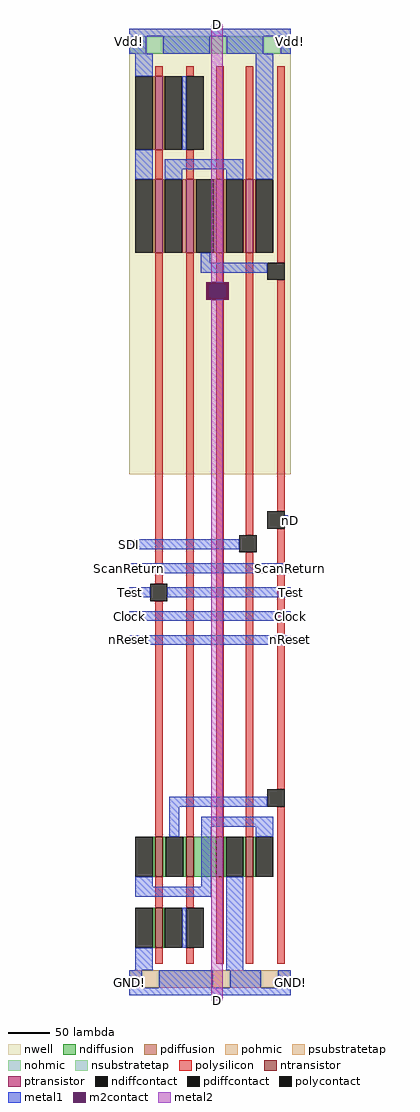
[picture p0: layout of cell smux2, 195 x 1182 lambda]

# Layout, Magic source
magic
tech tsmc180
<< nwell >>
rect 0 637 195 1176
<< polysilicon >>
rect 31 1119 40 1131
rect 69 1119 78 1131
rect 31 994 40 1030
rect 69 994 78 1030
rect 105 994 114 1131
rect 141 994 150 1131
rect 31 504 40 905
rect 31 198 40 483
rect 69 198 78 905
rect 105 869 114 905
rect 105 198 114 848
rect 141 563 150 905
rect 179 893 188 1131
rect 179 592 188 872
rect 141 198 150 542
rect 179 255 188 571
rect 31 112 40 149
rect 69 112 78 149
rect 31 44 40 63
rect 69 44 78 63
rect 105 44 114 149
rect 141 44 150 149
rect 179 44 188 234
<< ndiffusion >>
rect 28 149 31 198
rect 40 149 44 198
rect 65 149 69 198
rect 78 149 105 198
rect 114 149 117 198
rect 138 149 141 198
rect 150 149 153 198
rect 28 63 31 112
rect 40 63 43 112
<< pdiffusion >>
rect 28 1030 31 1119
rect 40 1030 43 1119
rect 28 905 31 994
rect 40 905 43 994
rect 64 905 69 994
rect 78 905 81 994
rect 102 905 105 994
rect 114 905 117 994
rect 138 905 141 994
rect 150 905 153 994
<< pohmic >>
rect 0 15 15 36
rect 36 15 101 36
rect 122 15 159 36
rect 180 15 195 36
<< nohmic >>
rect 0 1146 20 1167
rect 41 1146 97 1167
rect 118 1146 162 1167
rect 183 1146 195 1167
<< ntransistor >>
rect 31 149 40 198
rect 69 149 78 198
rect 105 149 114 198
rect 141 149 150 198
rect 31 63 40 112
<< ptransistor >>
rect 31 1030 40 1119
rect 31 905 40 994
rect 69 905 78 994
rect 105 905 114 994
rect 141 905 150 994
<< polycontact >>
rect 69 1030 90 1119
rect 25 483 46 504
rect 93 848 120 869
rect 167 872 188 893
rect 167 571 188 592
rect 133 542 154 563
rect 167 234 188 255
rect 69 63 90 112
<< ndiffcontact >>
rect 7 149 28 198
rect 44 149 65 198
rect 117 149 138 198
rect 153 149 174 198
rect 7 63 28 112
rect 43 63 64 112
<< pdiffcontact >>
rect 7 1030 28 1119
rect 43 1030 64 1119
rect 7 905 28 994
rect 43 905 64 994
rect 81 905 102 994
rect 117 905 138 994
rect 153 905 174 994
<< psubstratetap >>
rect 15 15 36 36
rect 101 15 122 36
rect 159 15 180 36
<< nsubstratetap >>
rect 20 1146 41 1167
rect 97 1146 118 1167
rect 162 1146 183 1167
<< metal1 >>
rect 0 1167 195 1176
rect 0 1146 20 1167
rect 41 1146 97 1167
rect 118 1146 162 1167
rect 183 1146 195 1167
rect 7 1119 28 1146
rect 64 1030 69 1119
rect 7 994 28 1030
rect 43 1006 138 1018
rect 43 994 64 1006
rect 117 994 138 1006
rect 153 994 174 1146
rect 86 893 98 905
rect 86 881 167 893
rect 188 575 195 587
rect 0 546 133 558
rect 0 517 195 529
rect 0 488 25 500
rect 46 488 195 500
rect 0 459 195 471
rect 0 430 195 442
rect 48 234 167 246
rect 48 198 60 234
rect 87 210 174 222
rect 7 137 28 149
rect 87 137 99 210
rect 153 198 174 210
rect 7 125 99 137
rect 64 63 69 112
rect 7 36 28 63
rect 117 36 138 149
rect 0 15 15 36
rect 36 15 101 36
rect 122 15 159 36
rect 180 15 195 36
rect 0 6 195 15
<< m2contact >>
rect 93 848 120 869
<< metal2 >>
rect 99 869 113 1182
rect 99 0 113 848
<< labels >>
rlabel metal1 0 1146 0 1176 3 Vdd!
rlabel metal1 195 1146 195 1176 7 Vdd!
rlabel metal1 195 575 195 587 7 nD
rlabel metal1 0 546 0 558 3 SDI
rlabel metal1 0 517 0 529 3 ScanReturn
rlabel metal1 0 488 0 500 3 Test
rlabel metal1 0 459 0 471 3 Clock
rlabel metal1 0 430 0 442 3 nReset
rlabel metal1 195 517 195 529 7 ScanReturn
rlabel metal1 195 488 195 500 7 Test
rlabel metal1 195 459 195 471 7 Clock
rlabel metal1 195 430 195 442 7 nReset
rlabel metal1 0 6 0 36 3 GND!
rlabel metal1 195 6 195 36 7 GND!
rlabel metal2 99 0 113 0 1 D
rlabel metal2 99 1182 113 1182 5 D
<< end >>
